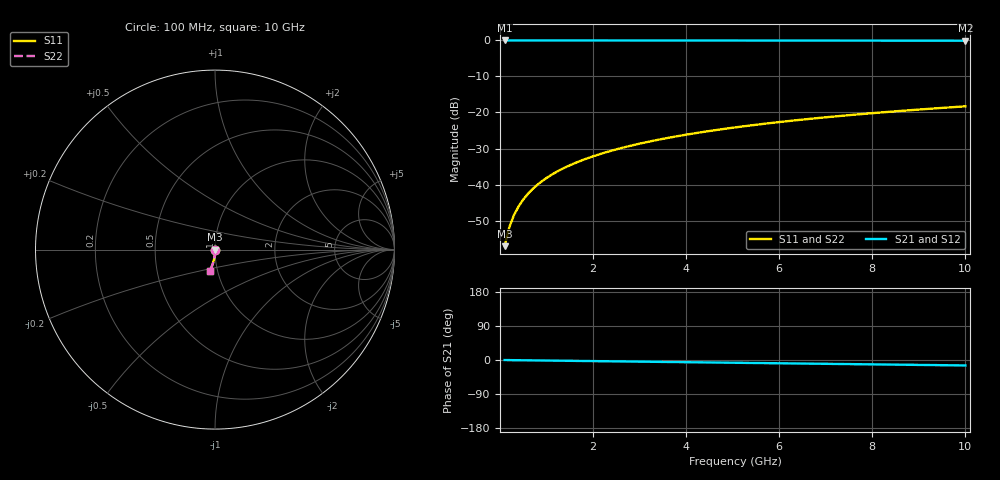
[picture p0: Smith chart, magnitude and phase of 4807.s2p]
# Hz S RI R 50.00
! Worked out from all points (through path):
!   100 points, 100 MHz to 10 GHz, reference 50 ohm
!   highest |S21| = -0.01 dB at 100 MHz (marker M1); lowest = -0.1 dB at 10 GHz (marker M2)
!   group delay of S21, straight-line fit = 4 ps
!   lowest |S11| = -57.1 dB at 100 MHz (marker M3), VSWR 1.00, Z = 50.1 - j0.123 ohm
!   |S11| at or under -10 dB: start of sweep to end of sweep
!   |S22| runs from -57.1 to -18.3 dB; largest |S21 - S12| = 0
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1e8  0.000652 -0.00123  0.9993 -0.00251  0.9993 -0.00251  0.000652 -0.00123
2e8  0.000645 -0.00246  0.9993 -0.00503  0.9993 -0.00503  0.000645 -0.00246
3e8  0.000631 -0.0037  0.9993 -0.00754  0.9993 -0.00754  0.000631 -0.0037
4e8  0.00061 -0.00493  0.9993 -0.0101  0.9993 -0.0101  0.00061 -0.00493
5e8  0.000583 -0.00616  0.9992 -0.0126  0.9992 -0.0126  0.000583 -0.00616
6e8  0.000549 -0.00739  0.9992 -0.0151  0.9992 -0.0151  0.000549 -0.00739
7e8  0.000509 -0.00863  0.9991 -0.0176  0.9991 -0.0176  0.000509 -0.00863
8e8  0.000462 -0.00986  0.9991 -0.0201  0.9991 -0.0201  0.000462 -0.00986
9e8  0.00041 -0.0111  0.999 -0.0226  0.999 -0.0226  0.00041 -0.0111
1.1e9  0.000285 -0.0136  0.9988 -0.0276  0.9988 -0.0276  0.000285 -0.0136
1.4e9  5.15e-05 -0.0172  0.9985 -0.0352  0.9985 -0.0352  5.15e-05 -0.0172
1.8e9  -0.000347 -0.0222  0.998 -0.0452  0.998 -0.0452  -0.000347 -0.0222
2.1e9  -0.000711 -0.0258  0.9975 -0.0527  0.9975 -0.0527  -0.000711 -0.0258
2.5e9  -0.00128 -0.0307  0.9968 -0.0628  0.9968 -0.0628  -0.00128 -0.0307
2.9e9  -0.00195 -0.0356  0.996 -0.0728  0.996 -0.0728  -0.00195 -0.0356
3.4e9  -0.00293 -0.0417  0.9947 -0.0853  0.9947 -0.0853  -0.00293 -0.0417
4.2e9  -0.00481 -0.0514  0.9923 -0.1052  0.9923 -0.1052  -0.00481 -0.0514
5.1e9  -0.00739 -0.0622  0.989 -0.1276  0.989 -0.1276  -0.00739 -0.0622
5.9e9  -0.0101 -0.0717  0.9856 -0.1473  0.9856 -0.1473  -0.0101 -0.0717
6.7e9  -0.0132 -0.081  0.9817 -0.167  0.9817 -0.167  -0.0132 -0.081
8.4e9  -0.0209 -0.1005  0.9717 -0.2082  0.9717 -0.2082  -0.0209 -0.1005
1e10  -0.0297 -0.118  0.9605 -0.2464  0.9605 -0.2464  -0.0297 -0.118
